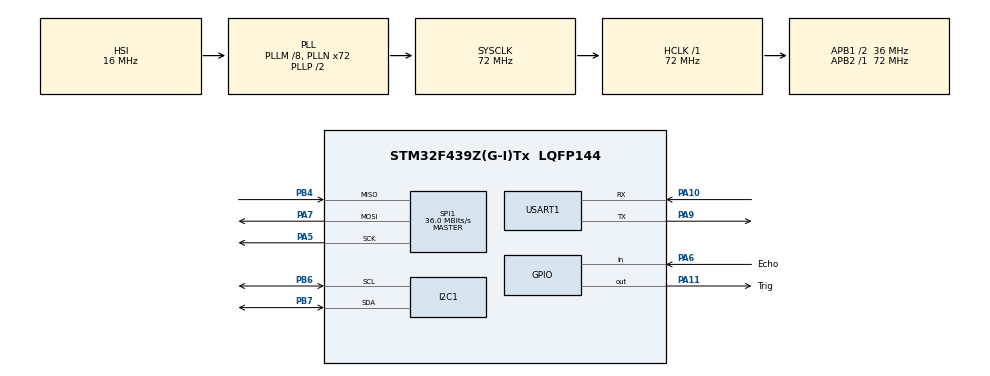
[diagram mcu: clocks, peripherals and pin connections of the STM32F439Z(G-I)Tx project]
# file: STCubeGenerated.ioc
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Mcu.Family=STM32F4
Mcu.Name=STM32F439Z(G-I)Tx
Mcu.Package=LQFP144
NVIC.PriorityGroup=NVIC_PRIORITYGROUP_4
PA10.Mode=Asynchronous
PA10.Signal=USART1_RX
PA11.GPIO_Label=Trig
PA11.Signal=GPIO_Output
PA5.Mode=Full_Duplex_Master
PA5.Signal=SPI1_SCK
PA6.GPIO_Label=Echo
PA6.Signal=GPIO_Input
PA7.Mode=Full_Duplex_Master
PA7.Signal=SPI1_MOSI
PA9.Mode=Asynchronous
PA9.Signal=USART1_TX
PB4.Mode=Full_Duplex_Master
PB4.Signal=SPI1_MISO
PB6.Mode=I2C
PB6.Signal=I2C1_SCL
PB7.Mode=I2C
PB7.Signal=I2C1_SDA
PH0/OSC_IN.Mode=HSE-External-Oscillator
PH0/OSC_IN.Signal=RCC_OSC_IN
PH1/OSC_OUT.Mode=HSE-External-Oscillator
PH1/OSC_OUT.Signal=RCC_OSC_OUT
ProjectManager.HeapSize=0x200
ProjectManager.StackSize=0x400
ProjectManager.TargetToolchain=MDK-ARM V5
RCC.48MHZClocksFreq_Value=36000000
RCC.AHBFreq_Value=72000000
RCC.APB1CLKDivider=RCC_HCLK_DIV2
RCC.APB1Freq_Value=36000000
RCC.APB1TimFreq_Value=72000000
RCC.APB2Freq_Value=72000000
RCC.APB2TimFreq_Value=72000000
RCC.CortexFreq_Value=72000000
RCC.HCLKFreq_Value=72000000
RCC.HSE_VALUE=25000000
RCC.HSI_VALUE=16000000
RCC.LSE_VALUE=32768
RCC.PLLM=8
RCC.PLLN=72
RCC.SYSCLKFreq_VALUE=72000000
RCC.SYSCLKSource=RCC_SYSCLKSOURCE_PLLCLK
RCC.VCOOutputFreq_Value=144000000
SPI1.CalculateBaudRate=36.0 MBits/s
SPI1.Direction=SPI_DIRECTION_2LINES
SPI1.Mode=SPI_MODE_MASTER
SPI1.VirtualType=VM_MASTER
TIM1.Prescaler=71
USART1.VirtualMode=VM_ASYNC
VP_TIM1_VS_ClockSourceINT.Mode=Internal
board=custom

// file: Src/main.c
/* USER CODE BEGIN Header */
/**
  ******************************************************************************
  * @file           : main.c
  * @brief          : Main program body
  ******************************************************************************
  * @attention
  *
  * Copyright (c) 2024 STMicroelectronics.
  * All rights reserved.
  *
  * This software is licensed under terms that can be found in the LICENSE file
  * in the root directory of this software component.
  * If no LICENSE file comes with this software, it is provided AS-IS.
  *
  ******************************************************************************
  */
/* USER CODE END Header */
#include "main.h"

/* USER CODE BEGIN Includes */
#include "stdio.h"
/* USER CODE END Includes */

I2C_HandleTypeDef hi2c1;

SPI_HandleTypeDef hspi1;

TIM_HandleTypeDef htim1;

UART_HandleTypeDef huart1;

/* USER CODE BEGIN PV */
#define TRIG_PIN  Trig_Pin
#define TRIG_PORT Trig_GPIO_Port
#define ECHO_PIN  Echo_Pin
#define ECHO_PORT Echo_GPIO_Port

uint32_t time = 0;
float Distance  = 0.0;  // cm
/* USER CODE END PV */

void SystemClock_Config(void);
static void MX_GPIO_Init(void);
static void MX_TIM1_Init(void);
static void MX_USART1_UART_Init(void);
static void MX_I2C1_Init(void);
static void MX_SPI1_Init(void);

/* USER CODE BEGIN 0 */
void stdout_putchar (uint8_t c){
	HAL_UART_Transmit (&huart1, &c, 1, 100);
}
/* USER CODE END 0 */

int main(void)
{

  /* MCU Configuration--------------------------------------------------------*/

  /* Reset of all peripherals, Initializes the Flash interface and the Systick. */
  HAL_Init();

  /* Configure the system clock */
  SystemClock_Config();

  /* Initialize all configured peripherals */
  MX_GPIO_Init();
  MX_TIM1_Init();
  MX_USART1_UART_Init();
  MX_I2C1_Init();
  MX_SPI1_Init();

  /* Infinite loop */
  /* USER CODE BEGIN WHILE */
  while (1)
  {
jump:
    HAL_TIM_Base_Start(&htim1);
    HAL_GPIO_WritePin(TRIG_PORT, TRIG_PIN, GPIO_PIN_RESET);  // pull the TRIG pin low
    __HAL_TIM_SET_COUNTER(&htim1, 0);
    while (__HAL_TIM_GET_COUNTER (&htim1) < 2U);  // wait for 2 us
    HAL_GPIO_WritePin(TRIG_PORT, TRIG_PIN, GPIO_PIN_SET);  // pull the TRIG pin HIGH
    __HAL_TIM_SET_COUNTER(&htim1, 0);
    while (__HAL_TIM_GET_COUNTER (&htim1) < 10U);  // wait for 10 us
    HAL_GPIO_WritePin(TRIG_PORT, TRIG_PIN, GPIO_PIN_RESET);  // pull the TRIG pin low

    __HAL_TIM_SET_COUNTER(&htim1, 0);
    while (HAL_GPIO_ReadPin(ECHO_PORT, ECHO_PIN)) { //waiting 5us if echo pin already high to reset, if not start again with trigger
        if (__HAL_TIM_GET_COUNTER (&htim1) >= 5U) {
            goto jump;
        }
    }

    __HAL_TIM_SET_COUNTER(&htim1, 0);
    while (!(HAL_GPIO_ReadPin (ECHO_PORT, ECHO_PIN))) { // wait for the echo pin to go high - go through
      if (__HAL_TIM_GET_COUNTER (&htim1) >= 1000U) {
        goto jump;
      }
    }

    __HAL_TIM_SET_COUNTER(&htim1, 0); //set counter as soon echo went high
    while ((HAL_GPIO_ReadPin (ECHO_PORT, ECHO_PIN))){}; // wait for the echo pin to go low

    time = __HAL_TIM_GET_COUNTER (&htim1); //Get counter value - measure echo pulse width
    Distance =  (float)time * (float)0.0171821;

    printf("%f cm\r\n", Distance);

    time = 0;
    HAL_Delay(500);
    /* USER CODE END WHILE */

  }
}

void SystemClock_Config(void)
{
  RCC_OscInitTypeDef RCC_OscInitStruct = {0};
  RCC_ClkInitTypeDef RCC_ClkInitStruct = {0};

  /** Configure the main internal regulator output voltage
  */
  __HAL_RCC_PWR_CLK_ENABLE();
  __HAL_PWR_VOLTAGESCALING_CONFIG(PWR_REGULATOR_VOLTAGE_SCALE3);

  /** Initializes the RCC Oscillators according to the specified parameters
  * in the RCC_OscInitTypeDef structure.
  */
  RCC_OscInitStruct.OscillatorType = RCC_OSCILLATORTYPE_HSI;
  RCC_OscInitStruct.HSIState = RCC_HSI_ON;
  RCC_OscInitStruct.HSICalibrationValue = RCC_HSICALIBRATION_DEFAULT;
  RCC_OscInitStruct.PLL.PLLState = RCC_PLL_ON;
  RCC_OscInitStruct.PLL.PLLSource = RCC_PLLSOURCE_HSI;
  RCC_OscInitStruct.PLL.PLLM = 8;
  RCC_OscInitStruct.PLL.PLLN = 72;
  RCC_OscInitStruct.PLL.PLLP = RCC_PLLP_DIV2;
  RCC_OscInitStruct.PLL.PLLQ = 4;
  if (HAL_RCC_OscConfig(&RCC_OscInitStruct) != HAL_OK)
  {
    Error_Handler();
  }

  /** Initializes the CPU, AHB and APB buses clocks
  */
  RCC_ClkInitStruct.ClockType = RCC_CLOCKTYPE_HCLK|RCC_CLOCKTYPE_SYSCLK
                              |RCC_CLOCKTYPE_PCLK1|RCC_CLOCKTYPE_PCLK2;
  RCC_ClkInitStruct.SYSCLKSource = RCC_SYSCLKSOURCE_PLLCLK;
  RCC_ClkInitStruct.AHBCLKDivider = RCC_SYSCLK_DIV1;
  RCC_ClkInitStruct.APB1CLKDivider = RCC_HCLK_DIV2;
  RCC_ClkInitStruct.APB2CLKDivider = RCC_HCLK_DIV1;

  if (HAL_RCC_ClockConfig(&RCC_ClkInitStruct, FLASH_LATENCY_2) != HAL_OK)
  {
    Error_Handler();
  }
}

static void MX_I2C1_Init(void)
{

  hi2c1.Instance = I2C1;
  hi2c1.Init.ClockSpeed = 100000;
  hi2c1.Init.DutyCycle = I2C_DUTYCYCLE_2;
  hi2c1.Init.OwnAddress1 = 0;
  hi2c1.Init.AddressingMode = I2C_ADDRESSINGMODE_7BIT;
  hi2c1.Init.DualAddressMode = I2C_DUALADDRESS_DISABLE;
  hi2c1.Init.OwnAddress2 = 0;
  hi2c1.Init.GeneralCallMode = I2C_GENERALCALL_DISABLE;
  hi2c1.Init.NoStretchMode = I2C_NOSTRETCH_DISABLE;
  if (HAL_I2C_Init(&hi2c1) != HAL_OK)
  {
    Error_Handler();
  }

  /** Configure Analogue filter
  */
  if (HAL_I2CEx_ConfigAnalogFilter(&hi2c1, I2C_ANALOGFILTER_ENABLE) != HAL_OK)
  {
    Error_Handler();
  }

  /** Configure Digital filter
  */
  if (HAL_I2CEx_ConfigDigitalFilter(&hi2c1, 0) != HAL_OK)
  {
    Error_Handler();
  }

}

static void MX_SPI1_Init(void)
{

  /* SPI1 parameter configuration*/
  hspi1.Instance = SPI1;
  hspi1.Init.Mode = SPI_MODE_MASTER;
  hspi1.Init.Direction = SPI_DIRECTION_2LINES;
  hspi1.Init.DataSize = SPI_DATASIZE_8BIT;
  hspi1.Init.CLKPolarity = SPI_POLARITY_LOW;
  hspi1.Init.CLKPhase = SPI_PHASE_1EDGE;
  hspi1.Init.NSS = SPI_NSS_SOFT;
  hspi1.Init.BaudRatePrescaler = SPI_BAUDRATEPRESCALER_2;
  hspi1.Init.FirstBit = SPI_FIRSTBIT_MSB;
  hspi1.Init.TIMode = SPI_TIMODE_DISABLE;
  hspi1.Init.CRCCalculation = SPI_CRCCALCULATION_DISABLE;
  hspi1.Init.CRCPolynomial = 10;
  if (HAL_SPI_Init(&hspi1) != HAL_OK)
  {
    Error_Handler();
  }

}

static void MX_TIM1_Init(void)
{

  TIM_ClockConfigTypeDef sClockSourceConfig = {0};
  TIM_MasterConfigTypeDef sMasterConfig = {0};

  htim1.Instance = TIM1;
  htim1.Init.Prescaler = 71;
  htim1.Init.CounterMode = TIM_COUNTERMODE_UP;
  htim1.Init.Period = 65535;
  htim1.Init.ClockDivision = TIM_CLOCKDIVISION_DIV1;
  htim1.Init.RepetitionCounter = 0;
  htim1.Init.AutoReloadPreload = TIM_AUTORELOAD_PRELOAD_DISABLE;
  if (HAL_TIM_Base_Init(&htim1) != HAL_OK)
  {
    Error_Handler();
  }
  sClockSourceConfig.ClockSource = TIM_CLOCKSOURCE_INTERNAL;
  if (HAL_TIM_ConfigClockSource(&htim1, &sClockSourceConfig) != HAL_OK)
  {
    Error_Handler();
  }
  sMasterConfig.MasterOutputTrigger = TIM_TRGO_RESET;
  sMasterConfig.MasterSlaveMode = TIM_MASTERSLAVEMODE_DISABLE;
  if (HAL_TIMEx_MasterConfigSynchronization(&htim1, &sMasterConfig) != HAL_OK)
  {
    Error_Handler();
  }

}

static void MX_USART1_UART_Init(void)
{

  huart1.Instance = USART1;
  huart1.Init.BaudRate = 115200;
  huart1.Init.WordLength = UART_WORDLENGTH_8B;
  huart1.Init.StopBits = UART_STOPBITS_1;
  huart1.Init.Parity = UART_PARITY_NONE;
  huart1.Init.Mode = UART_MODE_TX_RX;
  huart1.Init.HwFlowCtl = UART_HWCONTROL_NONE;
  huart1.Init.OverSampling = UART_OVERSAMPLING_16;
  if (HAL_UART_Init(&huart1) != HAL_OK)
  {
    Error_Handler();
  }

}

static void MX_GPIO_Init(void)
{
  GPIO_InitTypeDef GPIO_InitStruct = {0};

  /* GPIO Ports Clock Enable */
  __HAL_RCC_GPIOH_CLK_ENABLE();
  __HAL_RCC_GPIOA_CLK_ENABLE();
  __HAL_RCC_GPIOB_CLK_ENABLE();

  /*Configure GPIO pin Output Level */
  HAL_GPIO_WritePin(Trig_GPIO_Port, Trig_Pin, GPIO_PIN_RESET);

  /*Configure GPIO pin : Echo_Pin */
  GPIO_InitStruct.Pin = Echo_Pin;
  GPIO_InitStruct.Mode = GPIO_MODE_INPUT;
  GPIO_InitStruct.Pull = GPIO_NOPULL;
  HAL_GPIO_Init(Echo_GPIO_Port, &GPIO_InitStruct);

  /*Configure GPIO pin : Trig_Pin */
  GPIO_InitStruct.Pin = Trig_Pin;
  GPIO_InitStruct.Mode = GPIO_MODE_OUTPUT_PP;
  GPIO_InitStruct.Pull = GPIO_NOPULL;
  GPIO_InitStruct.Speed = GPIO_SPEED_FREQ_LOW;
  HAL_GPIO_Init(Trig_GPIO_Port, &GPIO_InitStruct);

}

void Error_Handler(void)
{
  __disable_irq();
  while (1)
  {
  }
}
